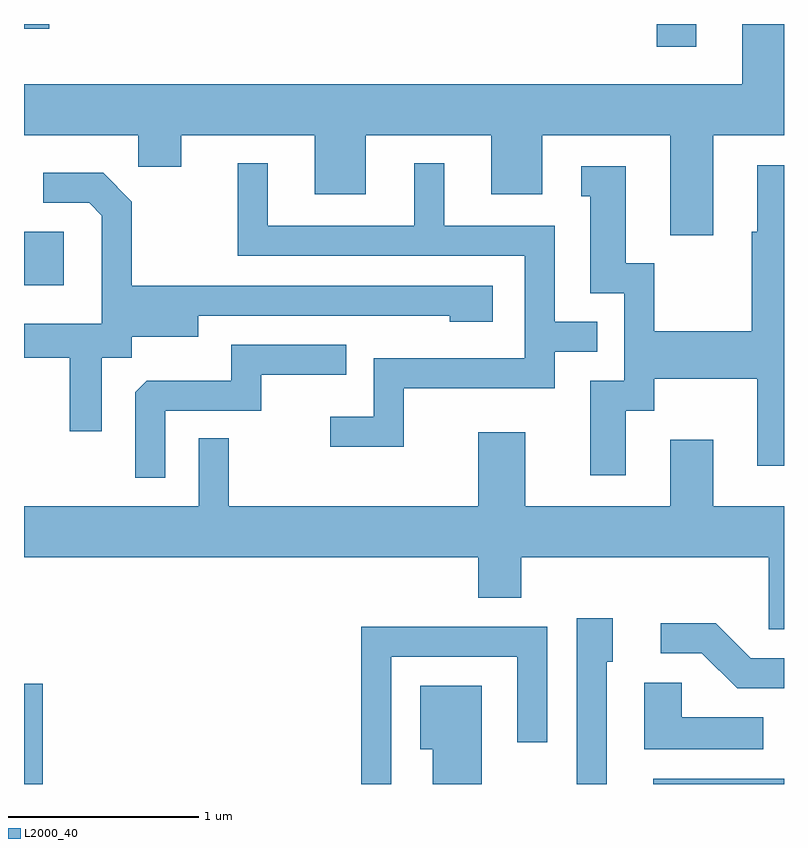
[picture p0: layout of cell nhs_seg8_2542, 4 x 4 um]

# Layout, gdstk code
import gdstk
lib = gdstk.Library(unit=1e-6, precision=1e-09)
def R(c, l, rs):  # rectangles x0, y0, x1, y1
    for r in rs: c.add(gdstk.rectangle(r[:2], r[2:], *l))
def P(c, l, *ps):  # polygons
    for p in ps: c.add(gdstk.Polygon(p, *l))
L2000_40 = (2000, 40)

nhs_seg8_2542 = lib.new_cell('nhs_seg8_2542')
R(nhs_seg8_2542, L2000_40, [(261.611,1826.342,261.709,1826.869), (264.923,1826.342,265.611,1826.369), (261.611,1828.966,261.819,1829.249), (264.941,1830.221,265.149,1830.342), (261.611,1830.316,261.744,1830.342)])
P(nhs_seg8_2542, L2000_40, [(265.239,1829.756),(265.611,1829.756),(265.611,1830.342),(265.391,1830.342),(265.391,1830.024),(261.611,1830.024),(261.611,1829.756),(262.211,1829.756),(262.211,1829.591),(262.439,1829.591),(262.439,1829.756),(263.141,1829.756),(263.141,1829.446),(263.409,1829.446),(263.409,1829.756),(264.071,1829.756),(264.071,1829.446),(264.339,1829.446),(264.339,1829.756),(265.011,1829.756),(265.011,1829.231),(265.239,1829.231)],
  [(263.609,1828.426),(264.404,1828.426),(264.404,1828.616),(264.628,1828.616),(264.628,1828.774),(264.404,1828.774),(264.404,1829.279),(263.824,1829.279),(263.824,1829.608),(263.666,1829.608),(263.666,1829.279),(262.894,1829.279),(262.894,1829.608),(262.736,1829.608),(262.736,1829.121),(264.246,1829.121),(264.246,1828.584),(263.451,1828.584),(263.451,1828.274),(263.223,1828.274),(263.223,1828.116),(263.609,1828.116)],
  [(264.779,1828.306),(264.929,1828.306),(264.929,1828.476),(265.471,1828.476),(265.471,1828.016),(265.611,1828.016),(265.611,1829.599),(265.471,1829.599),(265.471,1829.249),(265.441,1829.249),(265.441,1828.724),(264.929,1828.724),(264.929,1829.084),(264.779,1829.084),(264.779,1829.594),(264.543,1829.594),(264.543,1829.436),(264.591,1829.436),(264.591,1828.926),(264.771,1828.926),(264.771,1828.464),(264.591,1828.464),(264.591,1827.966),(264.779,1827.966)],
  [(262.019,1828.586),(262.179,1828.586),(262.179,1828.696),(262.529,1828.696),(262.529,1828.806),(263.851,1828.806),(263.851,1828.776),(264.079,1828.776),(264.079,1828.964),(262.179,1828.964),(262.179,1829.407),(262.027,1829.559),(261.712,1829.559),(261.712,1829.401),(261.954,1829.401),(262.021,1829.334),(262.021,1828.764),(261.611,1828.764),(261.611,1828.586),(261.851,1828.586),(261.851,1828.198),(262.019,1828.198)],
  [(262.354,1828.306),(262.859,1828.306),(262.859,1828.496),(263.308,1828.496),(263.308,1828.654),(262.701,1828.654),(262.701,1828.464),(262.257,1828.464),(262.196,1828.404),(262.196,1827.953),(262.354,1827.953)],
  [(265.611,1827.804),(265.239,1827.804),(265.239,1828.154),(265.011,1828.154),(265.011,1827.804),(264.249,1827.804),(264.249,1828.194),(264.001,1828.194),(264.001,1827.804),(262.689,1827.804),(262.689,1828.163),(262.531,1828.163),(262.531,1827.804),(261.611,1827.804),(261.611,1827.536),(264.001,1827.536),(264.001,1827.321),(264.229,1827.321),(264.229,1827.536),(265.531,1827.536),(265.531,1827.156),(265.611,1827.156)],
  [(264.679,1826.986),(264.709,1826.986),(264.709,1827.214),(264.521,1827.214),(264.521,1826.342),(264.679,1826.342)],
  [(265.611,1827.004),(265.437,1827.004),(265.252,1827.189),(264.963,1827.189),(264.963,1827.031),(265.179,1827.031),(265.364,1826.846),(265.611,1826.846)],
  [(263.544,1827.011),(264.206,1827.011),(264.206,1826.563),(264.364,1826.563),(264.364,1827.169),(263.386,1827.169),(263.386,1826.342),(263.544,1826.342)],
  [(265.503,1826.694),(265.074,1826.694),(265.074,1826.874),(264.876,1826.874),(264.876,1826.526),(265.503,1826.526)],
  [(264.019,1826.859),(263.696,1826.859),(263.696,1826.526),(263.761,1826.526),(263.761,1826.342),(264.019,1826.342)])

lib.write_gds('nhs_seg8_2542.gds')
